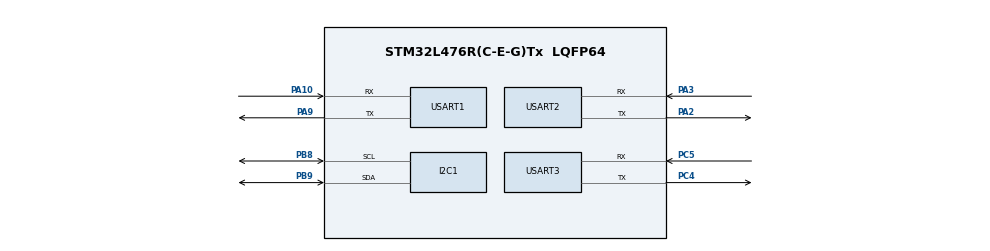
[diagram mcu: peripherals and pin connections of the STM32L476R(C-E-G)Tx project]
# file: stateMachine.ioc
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FREERTOS.Mutexes01=uartMutex,Dynamic,NULL,Available
FREERTOS.Queues01=eventQueue,16,Event_t,0,Dynamic,NULL,NULL;transmitQueue,4,Telemetry_t*,0,Dynamic,NULL,NULL
FREERTOS.Tasks01=mainTask,24,128,StartMainTask,Default,NULL,Dynamic,NULL,NULL;housekeepTask,8,128,StartHousekeepTask,Default,NULL,Dynamic,NULL,NULL;transmitTask,8,128,StartTransmitTask,Default,NULL,Dynamic,NULL,NULL;receiveTask,8,128,StartReceiveTask,Default,NULL,Dynamic,NULL,NULL;deployTask,8,128,StartDeployTask,Default,NULL,Dynamic,NULL,NULL;detumblingTask,8,128,StartDetumblingTask,Default,NULL,Dynamic,NULL,NULL;missionTask,8,128,StartMissionTask,Default,NULL,Dynamic,NULL,NULL
FREERTOS.Timers01=HkTickTimer,vHkTickCallback,osTimerPeriodic,Default,NULL,Dynamic,NULL
FREERTOS.configTOTAL_HEAP_SIZE=8192
FREERTOS.configUSE_NEWLIB_REENTRANT=1
I2C1.Timing=0x00100D14
Mcu.Family=STM32L4
Mcu.Name=STM32L476R(C-E-G)Tx
Mcu.Package=LQFP64
NVIC.PriorityGroup=NVIC_PRIORITYGROUP_4
NVIC.TIM6_DAC_IRQn=true\:15\:0\:false\:false\:true\:false\:false\:true\:true
NVIC.TimeBase=TIM6_DAC_IRQn
NVIC.TimeBaseIP=TIM6
NVIC.USART1_IRQn=true\:5\:0\:false\:false\:true\:true\:true\:true\:true
PA10.Mode=Asynchronous
PA10.Signal=USART1_RX
PA13\ (JTMS-SWDIO).Mode=Serial_Wire
PA13\ (JTMS-SWDIO).Signal=SYS_JTMS-SWDIO
PA14\ (JTCK-SWCLK).Mode=Serial_Wire
PA14\ (JTCK-SWCLK).Signal=SYS_JTCK-SWCLK
PA2.Mode=Asynchronous
PA2.Signal=USART2_TX
PA3.Mode=Asynchronous
PA3.Signal=USART2_RX
PA9.Mode=Asynchronous
PA9.Signal=USART1_TX
PB8.Mode=I2C
PB8.Signal=I2C1_SCL
PB9.Mode=I2C
PB9.Signal=I2C1_SDA
PC4.Mode=Asynchronous
PC4.Signal=USART3_TX
PC5.Mode=Asynchronous
PC5.Signal=USART3_RX
ProjectManager.HeapSize=0x200
ProjectManager.StackSize=0x400
ProjectManager.TargetToolchain=STM32CubeIDE
RCC.HSE_VALUE=8000000
RCC.HSI_VALUE=16000000
RCC.LSE_VALUE=32768
RCC.MSI_VALUE=4000000
RCC.VCOOutputFreq_Value=32000000
USART1.VirtualMode-Asynchronous=VM_ASYNC
USART2.VirtualMode-Asynchronous=VM_ASYNC
USART3.VirtualMode-Asynchronous=VM_ASYNC
VP_FREERTOS_VS_CMSIS_V2.Mode=CMSIS_V2
VP_SYS_VS_tim6.Mode=TIM6
board=custom

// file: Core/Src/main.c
/* USER CODE BEGIN Header */
/**
  ******************************************************************************
  * @file           : main.c
  * @brief          : Main program body
  ******************************************************************************
  * @attention
  *
  * Copyright (c) 2026 STMicroelectronics.
  * All rights reserved.
  *
  * This software is licensed under terms that can be found in the LICENSE file
  * in the root directory of this software component.
  * If no LICENSE file comes with this software, it is provided AS-IS.
  *
  ******************************************************************************
  */
/* USER CODE END Header */
#include "main.h"
#include "cmsis_os.h"

/* USER CODE BEGIN Includes */
#include <stdio.h>
#include <stdarg.h>
#include <stdbool.h>
#include "customTypes.h"
#include "BME280.h"
#include "DS3231.h"
/* USER CODE END Includes */

/* USER CODE BEGIN PD */
#define USART1_RX_FLAG       (1U << 0)
#define USART1_ERROR_FLAG    (1U << 1)
#define TASK_START_FLAG      (1U << 0)
/* USER CODE END PD */

I2C_HandleTypeDef hi2c1;

UART_HandleTypeDef huart1;
UART_HandleTypeDef huart2;
UART_HandleTypeDef huart3;

/* Definitions for mainTask */
osThreadId_t mainTaskHandle;
const osThreadAttr_t mainTask_attributes = {
  .name = "mainTask",
  .stack_size = 128 * 4,
  .priority = (osPriority_t) osPriorityNormal,
};
/* Definitions for housekeepTask */
osThreadId_t housekeepTaskHandle;
const osThreadAttr_t housekeepTask_attributes = {
  .name = "housekeepTask",
  .stack_size = 128 * 4,
  .priority = (osPriority_t) osPriorityLow,
};
/* Definitions for transmitTask */
osThreadId_t transmitTaskHandle;
const osThreadAttr_t transmitTask_attributes = {
  .name = "transmitTask",
  .stack_size = 128 * 4,
  .priority = (osPriority_t) osPriorityLow,
};
/* Definitions for receiveTask */
osThreadId_t receiveTaskHandle;
const osThreadAttr_t receiveTask_attributes = {
  .name = "receiveTask",
  .stack_size = 128 * 4,
  .priority = (osPriority_t) osPriorityLow,
};
/* Definitions for deployTask */
osThreadId_t deployTaskHandle;
const osThreadAttr_t deployTask_attributes = {
  .name = "deployTask",
  .stack_size = 128 * 4,
  .priority = (osPriority_t) osPriorityLow,
};
/* Definitions for detumblingTask */
osThreadId_t detumblingTaskHandle;
const osThreadAttr_t detumblingTask_attributes = {
  .name = "detumblingTask",
  .stack_size = 128 * 4,
  .priority = (osPriority_t) osPriorityLow,
};
/* Definitions for missionTask */
osThreadId_t missionTaskHandle;
const osThreadAttr_t missionTask_attributes = {
  .name = "missionTask",
  .stack_size = 128 * 4,
  .priority = (osPriority_t) osPriorityLow,
};
/* Definitions for eventQueue */
osMessageQueueId_t eventQueueHandle;
const osMessageQueueAttr_t eventQueue_attributes = {
  .name = "eventQueue"
};
/* Definitions for transmitQueue */
osMessageQueueId_t transmitQueueHandle;
const osMessageQueueAttr_t transmitQueue_attributes = {
  .name = "transmitQueue"
};
/* Definitions for HkTickTimer */
osTimerId_t HkTickTimerHandle;
const osTimerAttr_t HkTickTimer_attributes = {
  .name = "HkTickTimer"
};
/* Definitions for uartMutex */
osMutexId_t uartMutexHandle;
const osMutexAttr_t uartMutex_attributes = {
  .name = "uartMutex"
};
/* USER CODE BEGIN PV */
static uint8_t usart1RxBuffer;
static volatile uint8_t pendingTelecommand;
static volatile uint32_t usart1LastError;
static volatile uint32_t usart1ErrorCount;
static volatile bool usart1RestartRequired;
static volatile bool antennaDeployed;
#if TC_ON_USART2
static uint8_t usart2RxBuffer;
#endif
/* USER CODE END PV */

void SystemClock_Config(void);
static void MX_GPIO_Init(void);
static void MX_USART2_UART_Init(void);
static void MX_I2C1_Init(void);
static void MX_USART1_UART_Init(void);
static void MX_USART3_UART_Init(void);
void StartMainTask(void *argument);
void StartHousekeepTask(void *argument);
void StartTransmitTask(void *argument);
void StartReceiveTask(void *argument);
void StartDeployTask(void *argument);
void StartDetumblingTask(void *argument);
void StartMissionTask(void *argument);
void vHkTickCallback(void *argument);

/* USER CODE BEGIN PFP */
static void debugPrintf(const char *format, ...);
static void handleTelecommand(uint8_t tc, SatMode_t *mode,
		bool *deployInProgress, volatile bool *deployCompleted);
/* USER CODE END PFP */

/* USER CODE BEGIN 0 */
int __io_putchar(int ch) {
	HAL_UART_Transmit(&huart2, (uint8_t*) &ch, 1, 10);
	return ch;
}

static void debugPrintf(const char *format, ...)
{
	va_list args;

	if (osMutexAcquire(uartMutexHandle, osWaitForever) != osOK) {
		return;
	}

	va_start(args, format);
	vprintf(format, args);
	va_end(args);

	osMutexRelease(uartMutexHandle);
}

static void handleTelecommand(uint8_t tc, SatMode_t *mode,
		bool *deployInProgress, volatile bool *deployCompleted)
{
	switch ((Telecommand_t)tc) {
	case TC_START_MISSION:
		if ((*mode == SAT_MODE_IDLE) && !(*deployInProgress)) {
			*mode = SAT_MODE_MISSION;
			osThreadFlagsSet(missionTaskHandle, TASK_START_FLAG);
			debugPrintf("[%08lu] rx accepted: mission\r\n",
					osKernelGetTickCount());
		} else {
			debugPrintf("[%08lu] rx rejected: mission, mode=%u, deploy=%u\r\n",
					osKernelGetTickCount(), (unsigned int)*mode,
					(unsigned int)*deployInProgress);
		}
		break;

	case TC_DEPLOY:
		if ((*mode == SAT_MODE_IDLE) && !(*deployInProgress)
				&& !(*deployCompleted)) {
			*deployInProgress = true;
			osThreadFlagsSet(deployTaskHandle, TASK_START_FLAG);
			debugPrintf("[%08lu] rx accepted: deploy\r\n",
					osKernelGetTickCount());
		} else {
			debugPrintf("[%08lu] rx rejected: deploy, mode=%u, active=%u, done=%u\r\n",
					osKernelGetTickCount(), (unsigned int)*mode,
					(unsigned int)*deployInProgress,
					(unsigned int)*deployCompleted);
		}
		break;

	case TC_START_DETUMBLING:
		if ((*mode == SAT_MODE_IDLE) && !(*deployInProgress)) {
			*mode = SAT_MODE_DETUMBLING;
			osThreadFlagsSet(detumblingTaskHandle, TASK_START_FLAG);
			debugPrintf("[%08lu] rx accepted: detumbling\r\n",
					osKernelGetTickCount());
		} else {
			debugPrintf("[%08lu] rx rejected: detumbling, mode=%u, deploy=%u\r\n",
					osKernelGetTickCount(), (unsigned int)*mode,
					(unsigned int)*deployInProgress);
		}
		break;

	default:
		debugPrintf("[%08lu] rx rejected: unknown command 0x%02X\r\n",
				osKernelGetTickCount(), tc);
		break;
	}
}
/* USER CODE END 0 */

int main(void)
{

  /* MCU Configuration--------------------------------------------------------*/

  /* Reset of all peripherals, Initializes the Flash interface and the Systick. */
  HAL_Init();

  /* Configure the system clock */
  SystemClock_Config();

  /* Initialize all configured peripherals */
  MX_GPIO_Init();
  MX_USART2_UART_Init();
  MX_I2C1_Init();
  MX_USART1_UART_Init();
  MX_USART3_UART_Init();

  /* Init scheduler */
  osKernelInitialize();
  /* Create the mutex(es) */
  /* creation of uartMutex */
  uartMutexHandle = osMutexNew(&uartMutex_attributes);

  /* Create the timer(s) */
  /* creation of HkTickTimer */
  HkTickTimerHandle = osTimerNew(vHkTickCallback, osTimerPeriodic, NULL, &HkTickTimer_attributes);

  /* Create the queue(s) */
  /* creation of eventQueue */
  eventQueueHandle = osMessageQueueNew (16, sizeof(Event_t), &eventQueue_attributes);

  /* creation of transmitQueue */
  transmitQueueHandle = osMessageQueueNew (4, sizeof(Telemetry_t*), &transmitQueue_attributes);

  /* Create the thread(s) */
  /* creation of mainTask */
  mainTaskHandle = osThreadNew(StartMainTask, NULL, &mainTask_attributes);

  /* creation of housekeepTask */
  housekeepTaskHandle = osThreadNew(StartHousekeepTask, NULL, &housekeepTask_attributes);

  /* creation of transmitTask */
  transmitTaskHandle = osThreadNew(StartTransmitTask, NULL, &transmitTask_attributes);

  /* creation of receiveTask */
  receiveTaskHandle = osThreadNew(StartReceiveTask, NULL, &receiveTask_attributes);

  /* creation of deployTask */
  deployTaskHandle = osThreadNew(StartDeployTask, NULL, &deployTask_attributes);

  /* creation of detumblingTask */
  detumblingTaskHandle = osThreadNew(StartDetumblingTask, NULL, &detumblingTask_attributes);

  /* creation of missionTask */
  missionTaskHandle = osThreadNew(StartMissionTask, NULL, &missionTask_attributes);

  /* Start scheduler */
  osKernelStart();

  /* We should never get here as control is now taken by the scheduler */

  /* Infinite loop */
  while (1)
  {

  }
}

void SystemClock_Config(void)
{
  RCC_OscInitTypeDef RCC_OscInitStruct = {0};
  RCC_ClkInitTypeDef RCC_ClkInitStruct = {0};

  /** Configure the main internal regulator output voltage
  */
  if (HAL_PWREx_ControlVoltageScaling(PWR_REGULATOR_VOLTAGE_SCALE1) != HAL_OK)
  {
    Error_Handler();
  }

  /** Initializes the RCC Oscillators according to the specified parameters
  * in the RCC_OscInitTypeDef structure.
  */
  RCC_OscInitStruct.OscillatorType = RCC_OSCILLATORTYPE_MSI;
  RCC_OscInitStruct.MSIState = RCC_MSI_ON;
  RCC_OscInitStruct.MSICalibrationValue = 0;
  RCC_OscInitStruct.MSIClockRange = RCC_MSIRANGE_6;
  RCC_OscInitStruct.PLL.PLLState = RCC_PLL_NONE;
  if (HAL_RCC_OscConfig(&RCC_OscInitStruct) != HAL_OK)
  {
    Error_Handler();
  }

  /** Initializes the CPU, AHB and APB buses clocks
  */
  RCC_ClkInitStruct.ClockType = RCC_CLOCKTYPE_HCLK|RCC_CLOCKTYPE_SYSCLK
                              |RCC_CLOCKTYPE_PCLK1|RCC_CLOCKTYPE_PCLK2;
  RCC_ClkInitStruct.SYSCLKSource = RCC_SYSCLKSOURCE_MSI;
  RCC_ClkInitStruct.AHBCLKDivider = RCC_SYSCLK_DIV1;
  RCC_ClkInitStruct.APB1CLKDivider = RCC_HCLK_DIV1;
  RCC_ClkInitStruct.APB2CLKDivider = RCC_HCLK_DIV1;

  if (HAL_RCC_ClockConfig(&RCC_ClkInitStruct, FLASH_LATENCY_0) != HAL_OK)
  {
    Error_Handler();
  }
}

static void MX_I2C1_Init(void)
{

  hi2c1.Instance = I2C1;
  hi2c1.Init.Timing = 0x00100D14;
  hi2c1.Init.OwnAddress1 = 0;
  hi2c1.Init.AddressingMode = I2C_ADDRESSINGMODE_7BIT;
  hi2c1.Init.DualAddressMode = I2C_DUALADDRESS_DISABLE;
  hi2c1.Init.OwnAddress2 = 0;
  hi2c1.Init.OwnAddress2Masks = I2C_OA2_NOMASK;
  hi2c1.Init.GeneralCallMode = I2C_GENERALCALL_DISABLE;
  hi2c1.Init.NoStretchMode = I2C_NOSTRETCH_DISABLE;
  if (HAL_I2C_Init(&hi2c1) != HAL_OK)
  {
    Error_Handler();
  }

  /** Configure Analogue filter
  */
  if (HAL_I2CEx_ConfigAnalogFilter(&hi2c1, I2C_ANALOGFILTER_ENABLE) != HAL_OK)
  {
    Error_Handler();
  }

  /** Configure Digital filter
  */
  if (HAL_I2CEx_ConfigDigitalFilter(&hi2c1, 0) != HAL_OK)
  {
    Error_Handler();
  }

}

static void MX_USART1_UART_Init(void)
{

  huart1.Instance = USART1;
  huart1.Init.BaudRate = 115200;
  huart1.Init.WordLength = UART_WORDLENGTH_8B;
  huart1.Init.StopBits = UART_STOPBITS_1;
  huart1.Init.Parity = UART_PARITY_NONE;
  huart1.Init.Mode = UART_MODE_TX_RX;
  huart1.Init.HwFlowCtl = UART_HWCONTROL_NONE;
  huart1.Init.OverSampling = UART_OVERSAMPLING_16;
  huart1.Init.OneBitSampling = UART_ONE_BIT_SAMPLE_DISABLE;
  huart1.AdvancedInit.AdvFeatureInit = UART_ADVFEATURE_NO_INIT;
  if (HAL_UART_Init(&huart1) != HAL_OK)
  {
    Error_Handler();
  }

}

static void MX_USART2_UART_Init(void)
{

  huart2.Instance = USART2;
  huart2.Init.BaudRate = 115200;
  huart2.Init.WordLength = UART_WORDLENGTH_8B;
  huart2.Init.StopBits = UART_STOPBITS_1;
  huart2.Init.Parity = UART_PARITY_NONE;
  huart2.Init.Mode = UART_MODE_TX_RX;
  huart2.Init.HwFlowCtl = UART_HWCONTROL_NONE;
  huart2.Init.OverSampling = UART_OVERSAMPLING_16;
  huart2.Init.OneBitSampling = UART_ONE_BIT_SAMPLE_DISABLE;
  huart2.AdvancedInit.AdvFeatureInit = UART_ADVFEATURE_NO_INIT;
  if (HAL_UART_Init(&huart2) != HAL_OK)
  {
    Error_Handler();
  }

}

static void MX_USART3_UART_Init(void)
{

  huart3.Instance = USART3;
  huart3.Init.BaudRate = 115200;
  huart3.Init.WordLength = UART_WORDLENGTH_8B;
  huart3.Init.StopBits = UART_STOPBITS_1;
  huart3.Init.Parity = UART_PARITY_NONE;
  huart3.Init.Mode = UART_MODE_TX_RX;
  huart3.Init.HwFlowCtl = UART_HWCONTROL_NONE;
  huart3.Init.OverSampling = UART_OVERSAMPLING_16;
  huart3.Init.OneBitSampling = UART_ONE_BIT_SAMPLE_DISABLE;
  huart3.AdvancedInit.AdvFeatureInit = UART_ADVFEATURE_NO_INIT;
  if (HAL_UART_Init(&huart3) != HAL_OK)
  {
    Error_Handler();
  }

}

static void MX_GPIO_Init(void)
{

  /* GPIO Ports Clock Enable */
  __HAL_RCC_GPIOA_CLK_ENABLE();
  __HAL_RCC_GPIOC_CLK_ENABLE();
  __HAL_RCC_GPIOB_CLK_ENABLE();

}

/* USER CODE BEGIN 4 */

void initializeEverything(BME280_HandleTypeDef *BMEBat) {
	Set_Time(0, 0, 0, 0, 0, 0, 0);
	BME280_initDefault(BMEBat, hi2c1);
	BME280_setOversampling(BMEBat, BME280_OS_16x, PSSR); // talvez devesse ser ALL aqui ao invés de PSSR
}

void HAL_UART_RxCpltCallback(UART_HandleTypeDef *huart)
{
    if (huart->Instance == USART1)
    {
        uint32_t flags = USART1_RX_FLAG;

        pendingTelecommand = usart1RxBuffer;

        if (HAL_UART_Receive_IT(&huart1, &usart1RxBuffer, 1U) != HAL_OK)
        {
            usart1LastError = HAL_UART_GetError(&huart1);
            usart1ErrorCount++;
            usart1RestartRequired = true;
            flags |= USART1_ERROR_FLAG;
        }

        (void)osThreadFlagsSet(receiveTaskHandle, flags);
    }
#if TC_ON_USART2
    else if (huart->Instance == USART2)
    {
        /* Same path as a USART1 telecommand. Both IRQs share priority 5,
         * so they never preempt each other on pendingTelecommand. */
        pendingTelecommand = usart2RxBuffer;
        (void)HAL_UART_Receive_IT(&huart2, &usart2RxBuffer, 1U);
        (void)osThreadFlagsSet(receiveTaskHandle, USART1_RX_FLAG);
    }
#endif
}

void HAL_UART_ErrorCallback(UART_HandleTypeDef *huart)
{
    if (huart->Instance == USART1)
    {
        usart1LastError = HAL_UART_GetError(huart);
        usart1ErrorCount++;

        if (huart->RxState == HAL_UART_STATE_READY)
        {
            usart1RestartRequired =
                    (HAL_UART_Receive_IT(&huart1, &usart1RxBuffer, 1U)
                            != HAL_OK);
        }
        else
        {
            usart1RestartRequired = false;
        }

        (void)osThreadFlagsSet(receiveTaskHandle, USART1_ERROR_FLAG);
    }
#if TC_ON_USART2
    else if (huart->Instance == USART2)
    {
        /* Overrun aborts the reception (RxState back to READY); framing and
         * noise errors keep it running. */
        if (huart->RxState == HAL_UART_STATE_READY)
        {
            (void)HAL_UART_Receive_IT(&huart2, &usart2RxBuffer, 1U);
        }
    }
#endif
}
/* USER CODE END 4 */

void StartMainTask(void *argument)
{
  /* USER CODE BEGIN 5 */
	Event_t evt;
	SatMode_t mode = SAT_MODE_IDLE;
	bool deployInProgress = false;

	osTimerStart(HkTickTimerHandle, pdMS_TO_TICKS(60000));
	debugPrintf("[%08lu] main ready, mode=%u\r\n",
			osKernelGetTickCount(), (unsigned int)mode);

	/* Infinite loop */
	for(;;)
	{
		if (osMessageQueueGet(eventQueueHandle, &evt, NULL,
				osWaitForever) != osOK) {
			continue;
		}

		switch (evt.type) {
		case EVT_HK_DONE: {
			Telemetry_t *packet = evt.data.telemetry;

			if (osMessageQueuePut(transmitQueueHandle, &packet, 0U,
					osWaitForever) != osOK) {
				debugPrintf("[%08lu] tx queue error\r\n",
						osKernelGetTickCount());
			}
			break;
		}

		case EVT_RX_DONE:
			handleTelecommand(evt.data.telecommand, &mode,
					&deployInProgress, &antennaDeployed);
			break;

		case EVT_TX_DONE:
			debugPrintf("[%08lu] tx done\r\n", evt.timestamp);
			break;

		case EVT_MISSION_DONE:
			if (mode == SAT_MODE_MISSION) {
				mode = SAT_MODE_IDLE;
				debugPrintf("[%08lu] mission done, mode=%u\r\n",
						evt.timestamp, (unsigned int)mode);
			}
			break;

		case EVT_DETUMBLING_DONE:
			if (mode == SAT_MODE_DETUMBLING) {
				mode = SAT_MODE_IDLE;
				debugPrintf("[%08lu] detumbling done, mode=%u\r\n",
						evt.timestamp, (unsigned int)mode);
			}
			break;

		case EVT_DEPLOY_DONE:
			if (deployInProgress) {
				deployInProgress = false;
				antennaDeployed = true;
				debugPrintf("[%08lu] deploy done\r\n", evt.timestamp);
			}
			break;

		default:
			debugPrintf("[%08lu] unknown event=%u\r\n",
					evt.timestamp, (unsigned int)evt.type);
			break;
		}
	}
  /* USER CODE END 5 */
}

void StartHousekeepTask(void *argument)
{
  /* USER CODE BEGIN StartHousekeepTask */
	static Telemetry_t telemetryPacket;
	static BME280_HandleTypeDef BMEBat;
	initializeEverything(&BMEBat);
  /* Infinite loop */
  for(;;)
  {
	  osThreadFlagsWait(TASK_START_FLAG, osFlagsWaitAny, osWaitForever);
	  // ler os sensores aqui...
	  BME280_readSingleShot(&BMEBat);

	  // criar a struct para transmitir
	  telemetryPacket.temperatura_bateria = telemetryPacket.temperatura_estrutura = BMEBat.READ.TEMP;
	  telemetryPacket.umidade = BMEBat.READ.HMDT;
	  telemetryPacket.pressao = BMEBat.READ.PSSR;
	  Get_Time(&telemetryPacket.segundo, &telemetryPacket.minuto, &telemetryPacket.hora, &telemetryPacket.dia, NULL, &telemetryPacket.mes, &telemetryPacket.ano);
	  telemetryPacket.deploy_antena = antennaDeployed ? 1U : 0U;

	  osMutexAcquire(uartMutexHandle, osWaitForever);
	  uint8_t marker = 'H';
	  HAL_UART_Transmit(&huart2, &marker, 1, 100);
	  osMutexRelease(uartMutexHandle);

	  Event_t evt = {
		  .type = EVT_HK_DONE,
		  .timestamp = osKernelGetTickCount(),
		  .data.telemetry = &telemetryPacket
	  };
	  osMessageQueuePut(eventQueueHandle, &evt, 0U, osWaitForever);
  }
  /* USER CODE END StartHousekeepTask */
}

void StartTransmitTask(void *argument)
{
  /* USER CODE BEGIN StartTransmitTask */
	Telemetry_t* telemetryPacket;
  /* Infinite loop */
  for(;;)
  {
	  osMessageQueueGet(transmitQueueHandle, &telemetryPacket, NULL, osWaitForever);
	  // send telemetry to the earth
	  osMutexAcquire(uartMutexHandle, osWaitForever);
	  uint8_t marker = 'T';
	  HAL_UART_Transmit(&huart2, &marker, 1, 100);
	  HAL_UART_Transmit(&huart2, (uint8_t*) telemetryPacket, sizeof(Telemetry_t), 1000);
	  osMutexRelease(uartMutexHandle);

	  Event_t evt = {
		  .type = EVT_TX_DONE,
		  .timestamp = osKernelGetTickCount()
	  };
	  osMessageQueuePut(eventQueueHandle, &evt, 0U, osWaitForever);
  }
  /* USER CODE END StartTransmitTask */
}

void StartReceiveTask(void *argument)
{
  /* USER CODE BEGIN StartReceiveTask */
    uint32_t flags;

    if (HAL_UART_Receive_IT(&huart1, &usart1RxBuffer, 1U) != HAL_OK)
    {
        Error_Handler();
    }

#if TC_ON_USART2
    /* Drop whatever reached USART2 RX before reception was armed. */
    __HAL_UART_CLEAR_FLAG(&huart2, UART_CLEAR_PEF | UART_CLEAR_FEF
            | UART_CLEAR_NEF | UART_CLEAR_OREF);
    __HAL_UART_SEND_REQ(&huart2, UART_RXDATA_FLUSH_REQUEST);

    if (HAL_UART_Receive_IT(&huart2, &usart2RxBuffer, 1U) != HAL_OK)
    {
        Error_Handler();
    }

    debugPrintf("[%08lu] telecommands also accepted on USART2 (TC_ON_USART2)\r\n",
            osKernelGetTickCount());
#endif

    for (;;)
    {
        flags = osThreadFlagsWait(USART1_RX_FLAG | USART1_ERROR_FLAG,
                osFlagsWaitAny, osWaitForever);

        if ((flags & osFlagsError) != 0U)
        {
            continue;
        }

        if ((flags & USART1_ERROR_FLAG) != 0U)
        {
            if (usart1RestartRequired
                    && (huart1.RxState == HAL_UART_STATE_READY))
            {
                usart1RestartRequired =
                        (HAL_UART_Receive_IT(&huart1, &usart1RxBuffer, 1U)
                                != HAL_OK);
            }

            debugPrintf("[%08lu] usart1 error=0x%08lX count=%lu restart=%u\r\n",
                    osKernelGetTickCount(), usart1LastError,
                    usart1ErrorCount, (unsigned int)usart1RestartRequired);
        }

        if ((flags & USART1_RX_FLAG) != 0U)
        {
            Event_t evt = {
                .type = EVT_RX_DONE,
                .timestamp = osKernelGetTickCount(),
                .data.telecommand = pendingTelecommand
            };

            osMessageQueuePut(eventQueueHandle, &evt, 0U, osWaitForever);
        }
    }

  /* USER CODE END StartReceiveTask */
}

void StartDeployTask(void *argument)
{
  /* USER CODE BEGIN StartDeployTask */
  /* Infinite loop */
  for(;;)
  {
	  osThreadFlagsWait(TASK_START_FLAG, osFlagsWaitAny, osWaitForever);
	  debugPrintf("[%08lu] deploy task ran\r\n", osKernelGetTickCount());
	  Event_t evt = {
		  .type = EVT_DEPLOY_DONE,
		  .timestamp = osKernelGetTickCount()
	  };
	  osMessageQueuePut(eventQueueHandle, &evt, 0U, osWaitForever);
  }
  /* USER CODE END StartDeployTask */
}

void StartDetumblingTask(void *argument)
{
  /* USER CODE BEGIN StartDetumblingTask */
  /* Infinite loop */
  for(;;)
  {
	  osThreadFlagsWait(TASK_START_FLAG, osFlagsWaitAny, osWaitForever);
	  debugPrintf("[%08lu] detumbling task ran\r\n", osKernelGetTickCount());
	  Event_t evt = {
		  .type = EVT_DETUMBLING_DONE,
		  .timestamp = osKernelGetTickCount()
	  };
	  osMessageQueuePut(eventQueueHandle, &evt, 0U, osWaitForever);
  }
  /* USER CODE END StartDetumblingTask */
}

void StartMissionTask(void *argument)
{
  /* USER CODE BEGIN StartMissionTask */
  /* Infinite loop */
  for(;;)
  {
	  osThreadFlagsWait(TASK_START_FLAG, osFlagsWaitAny, osWaitForever);
	  debugPrintf("[%08lu] mission task ran\r\n", osKernelGetTickCount());
	  Event_t evt = {
		  .type = EVT_MISSION_DONE,
		  .timestamp = osKernelGetTickCount()
	  };
	  osMessageQueuePut(eventQueueHandle, &evt, 0U, osWaitForever);
  }
  /* USER CODE END StartMissionTask */
}

/* vHkTickCallback function */
void vHkTickCallback(void *argument)
{
  /* USER CODE BEGIN vHkTickCallback */
	osThreadFlagsSet(housekeepTaskHandle, TASK_START_FLAG);
  /* USER CODE END vHkTickCallback */
}

void HAL_TIM_PeriodElapsedCallback(TIM_HandleTypeDef *htim)
{
  if (htim->Instance == TIM6)
  {
    HAL_IncTick();
  }
}

void Error_Handler(void)
{
  __disable_irq();
  while (1)
  {
  }
}
